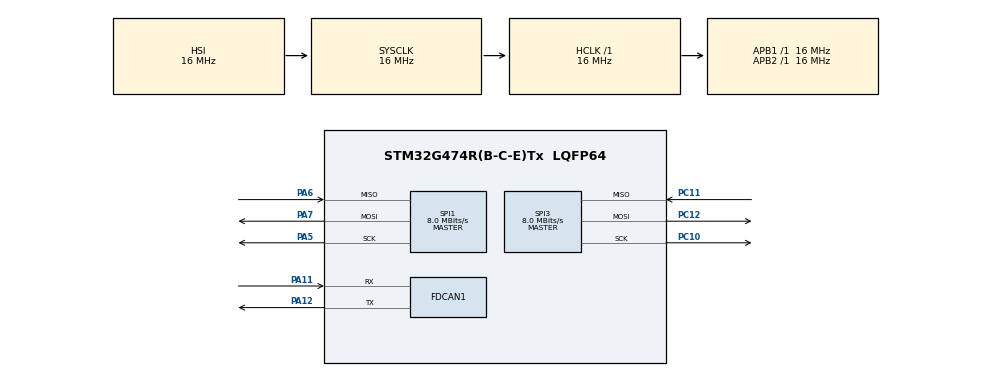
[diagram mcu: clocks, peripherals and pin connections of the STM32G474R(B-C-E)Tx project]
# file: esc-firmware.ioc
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Dma.Request0=SPI1_TX
Dma.Request1=SPI3_TX
Dma.SPI1_TX.0.Direction=DMA_MEMORY_TO_PERIPH
Dma.SPI1_TX.0.EventEnable=DISABLE
Dma.SPI1_TX.0.Instance=DMA1_Channel1
Dma.SPI1_TX.0.MemDataAlignment=DMA_MDATAALIGN_BYTE
Dma.SPI1_TX.0.MemInc=DMA_MINC_ENABLE
Dma.SPI1_TX.0.Mode=DMA_NORMAL
Dma.SPI1_TX.0.PeriphDataAlignment=DMA_PDATAALIGN_BYTE
Dma.SPI1_TX.0.PeriphInc=DMA_PINC_DISABLE
Dma.SPI1_TX.0.Polarity=HAL_DMAMUX_REQ_GEN_RISING
Dma.SPI1_TX.0.Priority=DMA_PRIORITY_LOW
Dma.SPI1_TX.0.RequestNumber=1
Dma.SPI1_TX.0.SignalID=NONE
Dma.SPI1_TX.0.SyncEnable=DISABLE
Dma.SPI1_TX.0.SyncPolarity=HAL_DMAMUX_SYNC_NO_EVENT
Dma.SPI1_TX.0.SyncRequestNumber=1
Dma.SPI1_TX.0.SyncSignalID=NONE
Dma.SPI3_TX.1.Direction=DMA_MEMORY_TO_PERIPH
Dma.SPI3_TX.1.EventEnable=DISABLE
Dma.SPI3_TX.1.Instance=DMA1_Channel2
Dma.SPI3_TX.1.MemDataAlignment=DMA_MDATAALIGN_HALFWORD
Dma.SPI3_TX.1.MemInc=DMA_MINC_ENABLE
Dma.SPI3_TX.1.Mode=DMA_NORMAL
Dma.SPI3_TX.1.PeriphDataAlignment=DMA_PDATAALIGN_HALFWORD
Dma.SPI3_TX.1.PeriphInc=DMA_PINC_DISABLE
Dma.SPI3_TX.1.Polarity=HAL_DMAMUX_REQ_GEN_RISING
Dma.SPI3_TX.1.Priority=DMA_PRIORITY_LOW
Dma.SPI3_TX.1.RequestNumber=1
Dma.SPI3_TX.1.SignalID=NONE
Dma.SPI3_TX.1.SyncEnable=DISABLE
Dma.SPI3_TX.1.SyncPolarity=HAL_DMAMUX_SYNC_NO_EVENT
Dma.SPI3_TX.1.SyncRequestNumber=1
Dma.SPI3_TX.1.SyncSignalID=NONE
FDCAN1.CalculateBaudRateNominal=333333
FDCAN1.CalculateTimeBitNominal=3000
FDCAN1.CalculateTimeQuantumNominal=1000.0
FREERTOS.Tasks01=defaultTask,24,128,StartDefaultTask,Default,NULL,Dynamic,NULL,NULL
Mcu.Family=STM32G4
Mcu.Name=STM32G474R(B-C-E)Tx
Mcu.Package=LQFP64
NVIC.DMA1_Channel1_IRQn=true\:5\:0\:false\:false\:true\:true\:false\:true\:true
NVIC.DMA1_Channel2_IRQn=true\:5\:0\:false\:false\:true\:true\:false\:true\:true
NVIC.PriorityGroup=NVIC_PRIORITYGROUP_4
NVIC.TIM1_UP_TIM16_IRQn=true\:15\:0\:false\:false\:true\:false\:false\:true\:true
NVIC.TimeBase=TIM1_UP_TIM16_IRQn
NVIC.TimeBaseIP=TIM1
PA11.Mode=FDCAN_Activate
PA11.Signal=FDCAN1_RX
PA12.Mode=FDCAN_Activate
PA12.Signal=FDCAN1_TX
PA13.Mode=JTAG_4_pins
PA13.Signal=SYS_JTMS-SWDIO
PA14.Mode=JTAG_4_pins
PA14.Signal=SYS_JTCK-SWCLK
PA15.Mode=JTAG_4_pins
PA15.Signal=SYS_JTDI
PA5.Mode=Full_Duplex_Master
PA5.Signal=SPI1_SCK
PA6.Mode=Full_Duplex_Master
PA6.Signal=SPI1_MISO
PA7.Mode=Full_Duplex_Master
PA7.Signal=SPI1_MOSI
PB3.Mode=JTAG_4_pins
PB3.Signal=SYS_JTDO-SWO
PC10.Mode=Full_Duplex_Master
PC10.Signal=SPI3_SCK
PC11.Mode=Full_Duplex_Master
PC11.Signal=SPI3_MISO
PC12.Mode=Full_Duplex_Master
PC12.Signal=SPI3_MOSI
ProjectManager.HeapSize=0x200
ProjectManager.StackSize=0x400
ProjectManager.TargetToolchain=CMake
RCC.AHBFreq_Value=16000000
RCC.APB1Freq_Value=16000000
RCC.APB1TimFreq_Value=16000000
RCC.APB2Freq_Value=16000000
RCC.APB2TimFreq_Value=16000000
RCC.CortexFreq_Value=16000000
RCC.EXTERNAL_CLOCK_VALUE=12288000
RCC.HCLKFreq_Value=16000000
RCC.HSE_VALUE=8000000
RCC.HSI48_VALUE=48000000
RCC.HSI_VALUE=16000000
RCC.LSE_VALUE=32768
RCC.SYSCLKFreq_VALUE=16000000
RCC.USBFreq_Value=64000000
RCC.VCOOutputFreq_Value=128000000
SPI1.CalculateBaudRate=8.0 MBits/s
SPI1.DataSize=SPI_DATASIZE_8BIT
SPI1.Direction=SPI_DIRECTION_2LINES
SPI1.Mode=SPI_MODE_MASTER
SPI1.VirtualType=VM_MASTER
SPI3.CalculateBaudRate=8.0 MBits/s
SPI3.DataSize=SPI_DATASIZE_16BIT
SPI3.Direction=SPI_DIRECTION_2LINES
SPI3.Mode=SPI_MODE_MASTER
SPI3.VirtualType=VM_MASTER
VP_FREERTOS_VS_CMSIS_V2.Mode=CMSIS_V2
VP_SYS_VS_DBSignals.Mode=DisableDeadBatterySignals
VP_SYS_VS_tim1.Mode=TIM1
board=custom

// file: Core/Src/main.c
/* USER CODE BEGIN Header */
/**
  ******************************************************************************
  * @file           : main.c
  * @brief          : Main program body
  ******************************************************************************
  * @attention
  *
  * Copyright (c) 2026 STMicroelectronics.
  * All rights reserved.
  *
  * This software is licensed under terms that can be found in the LICENSE file
  * in the root directory of this software component.
  * If no LICENSE file comes with this software, it is provided AS-IS.
  *
  ******************************************************************************
  */
/* USER CODE END Header */
#include "main.h"
#include "cmsis_os.h"
#include "stdlib.h"
#include "stdio.h"
#include "stm32g4xx_hal_def.h"
#include <stdint.h>

FDCAN_HandleTypeDef hfdcan1;

SPI_HandleTypeDef hspi1;
SPI_HandleTypeDef hspi3;
DMA_HandleTypeDef hdma_spi1_tx;
DMA_HandleTypeDef hdma_spi3_tx;

/* Definitions for defaultTask */
osThreadId_t defaultTaskHandle;
const osThreadAttr_t defaultTask_attributes = {
  .name = "defaultTask",
  .priority = (osPriority_t) osPriorityNormal,
  .stack_size = 128 * 4
};
/* USER CODE BEGIN PV */
osThreadId_t trinamicTaskHandle;
const osThreadAttr_t trinamicTask_attributes = {
    .name = "trinamic task",
    .priority = (osPriority_t)osPriorityAboveNormal,
    .stack_size = 128 * 4};

/* USER CODE END PV */

void SystemClock_Config(void);
static void MX_GPIO_Init(void);
static void MX_DMA_Init(void);
static void MX_FDCAN1_Init(void);
static void MX_SPI3_Init(void);
static void MX_SPI1_Init(void);
void StartDefaultTask(void *argument);

/* USER CODE BEGIN 0 */

/**
 * @brief RTOS Task for Trinamic Stepper motor driver. This task will
 * communicate with the driver via SPI1.
 *
 * @param pvParameters
 */
void Trinamic_SPI_Task(void *pvParameters) {
  uint8_t *RX_Buffer = calloc(5, sizeof(uint8_t));

  for (;;) {
    SerialSPIParams_t *parms = pvParameters;

    HAL_StatusTypeDef status = HAL_SPI_Receive_DMA(parms->hspi1, RX_Buffer, 2);

    if (status != HAL_OK) {
      // Error
      printf("An unexpected SPI error has occured!");
    }

    // Serialize the datagram packet from the trinamic driver.
    Trinamic_Datagram *datagram = (Trinamic_Datagram *)RX_Buffer;

    printf("Packet Register Address: %c", datagram->register_address);
  }

  // Cleanup
  free(RX_Buffer);
}

/* USER CODE END 0 */

int main(void)
{

  /* MCU Configuration--------------------------------------------------------*/

  /* Reset of all peripherals, Initializes the Flash interface and the Systick. */
  HAL_Init();

  /* Configure the system clock */
  SystemClock_Config();

  /* Initialize all configured peripherals */
  MX_GPIO_Init();
  MX_DMA_Init();
  MX_FDCAN1_Init();
  MX_SPI3_Init();
  MX_SPI1_Init();

  /* Init scheduler */
  osKernelInitialize();

  /* Create the thread(s) */
  /* creation of defaultTask */
  defaultTaskHandle = osThreadNew(StartDefaultTask, NULL, &defaultTask_attributes);

  /* USER CODE BEGIN RTOS_THREADS */
  /* add threads, ... */

  // Placeholder address is 0x22
  SerialSPIParams_t params = {.hspi1=&hspi1, .address=0x22};
  trinamicTaskHandle =
      osThreadNew(Trinamic_SPI_Task, &params, &trinamicTask_attributes);

  /* USER CODE END RTOS_THREADS */

  /* Start scheduler */
  osKernelStart();

  /* We should never get here as control is now taken by the scheduler */

  /* Infinite loop */
  while (1)
  {

  }
}

void SystemClock_Config(void)
{
  RCC_OscInitTypeDef RCC_OscInitStruct = {0};
  RCC_ClkInitTypeDef RCC_ClkInitStruct = {0};

  /** Configure the main internal regulator output voltage
  */
  HAL_PWREx_ControlVoltageScaling(PWR_REGULATOR_VOLTAGE_SCALE1);

  /** Initializes the RCC Oscillators according to the specified parameters
  * in the RCC_OscInitTypeDef structure.
  */
  RCC_OscInitStruct.OscillatorType = RCC_OSCILLATORTYPE_HSI;
  RCC_OscInitStruct.HSIState = RCC_HSI_ON;
  RCC_OscInitStruct.HSICalibrationValue = RCC_HSICALIBRATION_DEFAULT;
  RCC_OscInitStruct.PLL.PLLState = RCC_PLL_NONE;
  if (HAL_RCC_OscConfig(&RCC_OscInitStruct) != HAL_OK)
  {
    Error_Handler();
  }

  /** Initializes the CPU, AHB and APB buses clocks
  */
  RCC_ClkInitStruct.ClockType = RCC_CLOCKTYPE_HCLK|RCC_CLOCKTYPE_SYSCLK
                              |RCC_CLOCKTYPE_PCLK1|RCC_CLOCKTYPE_PCLK2;
  RCC_ClkInitStruct.SYSCLKSource = RCC_SYSCLKSOURCE_HSI;
  RCC_ClkInitStruct.AHBCLKDivider = RCC_SYSCLK_DIV1;
  RCC_ClkInitStruct.APB1CLKDivider = RCC_HCLK_DIV1;
  RCC_ClkInitStruct.APB2CLKDivider = RCC_HCLK_DIV1;

  if (HAL_RCC_ClockConfig(&RCC_ClkInitStruct, FLASH_LATENCY_0) != HAL_OK)
  {
    Error_Handler();
  }
}

static void MX_FDCAN1_Init(void)
{

  hfdcan1.Instance = FDCAN1;
  hfdcan1.Init.ClockDivider = FDCAN_CLOCK_DIV1;
  hfdcan1.Init.FrameFormat = FDCAN_FRAME_CLASSIC;
  hfdcan1.Init.Mode = FDCAN_MODE_NORMAL;
  hfdcan1.Init.AutoRetransmission = DISABLE;
  hfdcan1.Init.TransmitPause = DISABLE;
  hfdcan1.Init.ProtocolException = DISABLE;
  hfdcan1.Init.NominalPrescaler = 16;
  hfdcan1.Init.NominalSyncJumpWidth = 1;
  hfdcan1.Init.NominalTimeSeg1 = 1;
  hfdcan1.Init.NominalTimeSeg2 = 1;
  hfdcan1.Init.DataPrescaler = 1;
  hfdcan1.Init.DataSyncJumpWidth = 1;
  hfdcan1.Init.DataTimeSeg1 = 1;
  hfdcan1.Init.DataTimeSeg2 = 1;
  hfdcan1.Init.StdFiltersNbr = 0;
  hfdcan1.Init.ExtFiltersNbr = 0;
  hfdcan1.Init.TxFifoQueueMode = FDCAN_TX_FIFO_OPERATION;
  if (HAL_FDCAN_Init(&hfdcan1) != HAL_OK)
  {
    Error_Handler();
  }

}

static void MX_SPI1_Init(void)
{

  /* SPI1 parameter configuration*/
  hspi1.Instance = SPI1;
  hspi1.Init.Mode = SPI_MODE_MASTER;
  hspi1.Init.Direction = SPI_DIRECTION_2LINES;
  hspi1.Init.DataSize = SPI_DATASIZE_8BIT;
  hspi1.Init.CLKPolarity = SPI_POLARITY_LOW;
  hspi1.Init.CLKPhase = SPI_PHASE_1EDGE;
  hspi1.Init.NSS = SPI_NSS_SOFT;
  hspi1.Init.BaudRatePrescaler = SPI_BAUDRATEPRESCALER_2;
  hspi1.Init.FirstBit = SPI_FIRSTBIT_MSB;
  hspi1.Init.TIMode = SPI_TIMODE_DISABLE;
  hspi1.Init.CRCCalculation = SPI_CRCCALCULATION_DISABLE;
  hspi1.Init.CRCPolynomial = 7;
  hspi1.Init.CRCLength = SPI_CRC_LENGTH_DATASIZE;
  hspi1.Init.NSSPMode = SPI_NSS_PULSE_ENABLE;
  if (HAL_SPI_Init(&hspi1) != HAL_OK)
  {
    Error_Handler();
  }

}

static void MX_SPI3_Init(void)
{

  /* SPI3 parameter configuration*/
  hspi3.Instance = SPI3;
  hspi3.Init.Mode = SPI_MODE_MASTER;
  hspi3.Init.Direction = SPI_DIRECTION_2LINES;
  hspi3.Init.DataSize = SPI_DATASIZE_16BIT;
  hspi3.Init.CLKPolarity = SPI_POLARITY_LOW;
  hspi3.Init.CLKPhase = SPI_PHASE_1EDGE;
  hspi3.Init.NSS = SPI_NSS_SOFT;
  hspi3.Init.BaudRatePrescaler = SPI_BAUDRATEPRESCALER_2;
  hspi3.Init.FirstBit = SPI_FIRSTBIT_MSB;
  hspi3.Init.TIMode = SPI_TIMODE_DISABLE;
  hspi3.Init.CRCCalculation = SPI_CRCCALCULATION_DISABLE;
  hspi3.Init.CRCPolynomial = 7;
  hspi3.Init.CRCLength = SPI_CRC_LENGTH_DATASIZE;
  hspi3.Init.NSSPMode = SPI_NSS_PULSE_ENABLE;
  if (HAL_SPI_Init(&hspi3) != HAL_OK)
  {
    Error_Handler();
  }

}

static void MX_DMA_Init(void)
{

  /* DMA controller clock enable */
  __HAL_RCC_DMAMUX1_CLK_ENABLE();
  __HAL_RCC_DMA1_CLK_ENABLE();

  /* DMA interrupt init */
  /* DMA1_Channel1_IRQn interrupt configuration */
  HAL_NVIC_SetPriority(DMA1_Channel1_IRQn, 5, 0);
  HAL_NVIC_EnableIRQ(DMA1_Channel1_IRQn);
  /* DMA1_Channel2_IRQn interrupt configuration */
  HAL_NVIC_SetPriority(DMA1_Channel2_IRQn, 5, 0);
  HAL_NVIC_EnableIRQ(DMA1_Channel2_IRQn);

}

static void MX_GPIO_Init(void)
{

  /* GPIO Ports Clock Enable */
  __HAL_RCC_GPIOA_CLK_ENABLE();
  __HAL_RCC_GPIOC_CLK_ENABLE();
  __HAL_RCC_GPIOB_CLK_ENABLE();

}

void StartDefaultTask(void *argument)
{
  /* USER CODE BEGIN 5 */
  /* Infinite loop */
  for (;;) {
    osDelay(1);
    printf("Hello");
  }
  /* USER CODE END 5 */
}

void HAL_TIM_PeriodElapsedCallback(TIM_HandleTypeDef *htim)
{
  if (htim->Instance == TIM1)
  {
    HAL_IncTick();
  }
}

void Error_Handler(void)
{
  /* USER CODE BEGIN Error_Handler_Debug */
  /* User can add his own implementation to report the HAL error return state */
  __disable_irq();
  while (1)
  {
    printf("An error has occured!");
  }
  /* USER CODE END Error_Handler_Debug */
}

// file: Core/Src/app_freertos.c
/* USER CODE BEGIN Header */
/**
  ******************************************************************************
  * File Name          : app_freertos.c
  * Description        : Code for freertos applications
  ******************************************************************************
  * @attention
  *
  * Copyright (c) 2026 STMicroelectronics.
  * All rights reserved.
  *
  * This software is licensed under terms that can be found in the LICENSE file
  * in the root directory of this software component.
  * If no LICENSE file comes with this software, it is provided AS-IS.
  *
  ******************************************************************************
  */
/* USER CODE END Header */

#include "FreeRTOS.h"
#include "stm32g4xx_hal_spi.h"
#include "task.h"
#include "main.h"
#include <stdint.h>
#include <stdlib.h>
#include "app_freertos.h"

/* USER CODE BEGIN Includes */

/**
 * @brief RTOS Task for Trinamic Stepper motor driver. This task will communicate with the driver via SPI1.
 *
 * @param pvParameters
 */
void Trinamic_SPI_Task(void *pvParameters) {
  uint8_t *RX_Buffer = calloc(1000, sizeof(int));

  for (;;) {
    SerialSPIParams_t *parms = (*SerialSPIParams_t)pvParmeters;

    HAL_SPI_Receive_DMA(*parms->hspi1, RX_Buffer, 1000);
  }

  free(RX_Buffer);

  /* As per the first code listing above. */
  vTaskDelete(NULL);
}

/* USER CODE END Includes */
